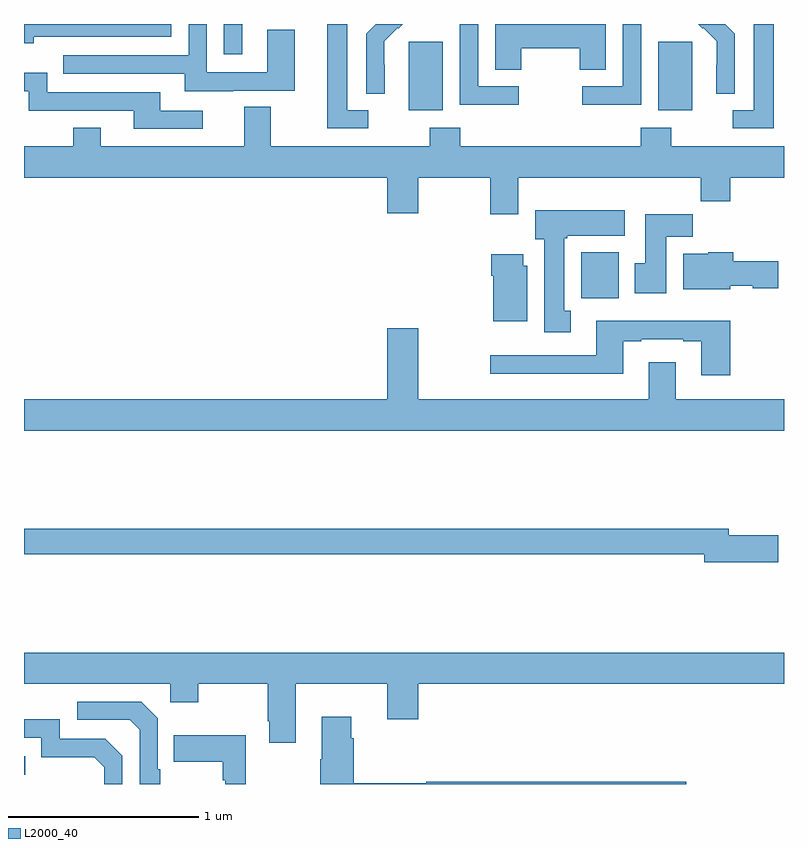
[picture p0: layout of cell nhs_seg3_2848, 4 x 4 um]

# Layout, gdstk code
import gdstk
lib = gdstk.Library(unit=1e-6, precision=1e-09)
def R(c, l, rs):  # rectangles x0, y0, x1, y1
    for r in rs: c.add(gdstk.rectangle(r[:2], r[2:], *l))
def P(c, l, *ps):  # polygons
    for p in ps: c.add(gdstk.Polygon(p, *l))
L2000_40 = (2000, 40)

nhs_seg3_2848 = lib.new_cell('nhs_seg3_2848')
R(nhs_seg3_2848, L2000_40, [(259,688.449,259.007,688.545), (261.932,690.956,262.129,691.198), (261.026,691.946,261.205,692.307), (262.337,691.946,262.516,692.307)])
P(nhs_seg3_2848, L2000_40, [(259.052,692.334),(259.776,692.334),(259.776,692.4),(259,692.4),(259,692.3),(259.052,692.3)],
  [(261.618,692.272),(261.925,692.272),(261.925,692.158),(262.063,692.158),(262.063,692.4),(261.479,692.4),(261.479,692.158),(261.618,692.158)],
  [(262.945,692.4),(262.841,692.4),(262.841,691.947),(262.731,691.947),(262.731,691.851),(262.945,691.851)],
  [(260.812,691.947),(260.701,691.947),(260.701,692.4),(260.597,692.4),(260.597,691.851),(260.812,691.851)],
  [(260.149,692.397),(260.152,692.4),(260.052,692.4),(260.052,692.241),(260.149,692.241)],
  [(260.101,692.049),(260.425,692.049),(260.425,692.369),(260.28,692.369),(260.28,692.145),(259.962,692.145),(259.962,692.4),(259.866,692.4),(259.866,692.235),(259.207,692.235),(259.207,692.139),(259.847,692.139),(259.847,692.045),(260.101,692.045)],
  [(261.604,692.073),(261.39,692.073),(261.39,692.4),(261.294,692.4),(261.294,691.975),(261.604,691.975)],
  [(260.898,692.186),(260.897,692.186),(260.897,692.309),(260.967,692.379),(260.97,692.376),(260.994,692.4),(260.852,692.4),(260.802,692.35),(260.802,692.032),(260.898,692.032)],
  [(262.74,692.35),(262.69,692.4),(262.548,692.4),(262.572,692.376),(262.575,692.379),(262.646,692.309),(262.646,692.186),(262.644,692.186),(262.644,692.032),(262.74,692.032)],
  [(262.248,692.4),(262.152,692.4),(262.152,692.073),(261.939,692.073),(261.939,691.975),(262.248,691.975)],
  [(259.942,691.944),(259.717,691.944),(259.717,692.04),(259.122,692.04),(259.122,692.143),(259,692.143),(259,692.046),(259.026,692.046),(259.026,691.944),(259.577,691.944),(259.577,691.848),(259.942,691.848)],
  [(261.601,691.592),(262.561,691.592),(262.561,691.468),(262.718,691.468),(262.718,691.592),(263,691.592),(263,691.756),(262.407,691.756),(262.407,691.855),(262.247,691.855),(262.247,691.756),(261.296,691.756),(261.296,691.855),(261.136,691.855),(261.136,691.756),(260.299,691.756),(260.299,691.964),(260.159,691.964),(260.159,691.756),(259.405,691.756),(259.405,691.855),(259.258,691.855),(259.258,691.756),(259,691.756),(259,691.592),(260.912,691.592),(260.912,691.404),(261.076,691.404),(261.076,691.592),(261.454,691.592),(261.454,691.398),(261.601,691.398)],
  [(261.877,690.89),(261.844,690.89),(261.844,691.273),(261.858,691.273),(261.858,691.286),(262.162,691.286),(262.162,691.42),(261.692,691.42),(261.692,691.266),(261.737,691.266),(261.737,690.777),(261.877,690.777)],
  [(262.381,691.28),(262.52,691.28),(262.52,691.399),(262.271,691.399),(262.271,691.14),(262.214,691.14),(262.214,690.984),(262.381,690.984)],
  [(262.716,691.022),(262.836,691.022),(262.836,691.01),(262.969,691.01),(262.969,691.152),(262.733,691.152),(262.733,691.198),(262.602,691.198),(262.602,691.192),(262.469,691.192),(262.469,691.004),(262.716,691.004)],
  [(261.649,691.128),(261.628,691.128),(261.628,691.189),(261.458,691.189),(261.458,691.076),(261.47,691.076),(261.47,690.836),(261.649,690.836)],
  [(262.718,690.838),(262.013,690.838),(262.013,690.657),(261.453,690.657),(261.453,690.56),(262.153,690.56),(262.153,690.729),(262.249,690.729),(262.249,690.741),(262.469,690.741),(262.469,690.729),(262.565,690.729),(262.565,690.552),(262.718,690.552)],
  [(263,690.424),(262.429,690.424),(262.429,690.619),(262.289,690.619),(262.289,690.424),(261.076,690.424),(261.076,690.799),(260.912,690.799),(260.912,690.424),(259,690.424),(259,690.26),(263,690.26)],
  [(262.969,689.708),(262.708,689.708),(262.708,689.744),(259,689.744),(259,689.608),(262.58,689.608),(262.58,689.566),(262.969,689.566)],
  [(260.431,688.928),(260.912,688.928),(260.912,688.74),(261.076,688.74),(261.076,688.928),(263,688.928),(263,689.092),(259,689.092),(259,688.928),(259.77,688.928),(259.77,688.829),(259.916,688.829),(259.916,688.928),(260.284,688.928),(260.284,688.729),(260.291,688.729),(260.291,688.617),(260.431,688.617)],
  [(259.717,688.477),(259.704,688.477),(259.704,688.746),(259.617,688.833),(259.281,688.833),(259.281,688.737),(259.557,688.737),(259.608,688.686),(259.608,688.4),(259.717,688.4)],
  [(262.486,688.412),(261.118,688.412),(261.118,688.405),(260.735,688.405),(260.735,688.64),(260.722,688.64),(260.722,688.753),(260.567,688.753),(260.567,688.529),(260.56,688.529),(260.56,688.4),(262.486,688.4)],
  [(259.518,688.548),(259.428,688.638),(259.188,688.638),(259.188,688.74),(259,688.74),(259,688.644),(259.092,688.644),(259.092,688.541),(259.369,688.541),(259.422,688.488),(259.422,688.4),(259.518,688.4)],
  [(260.166,688.657),(259.789,688.657),(259.789,688.517),(260.046,688.517),(260.046,688.421),(260.058,688.421),(260.058,688.4),(260.166,688.4)])

lib.write_gds('nhs_seg3_2848.gds')
